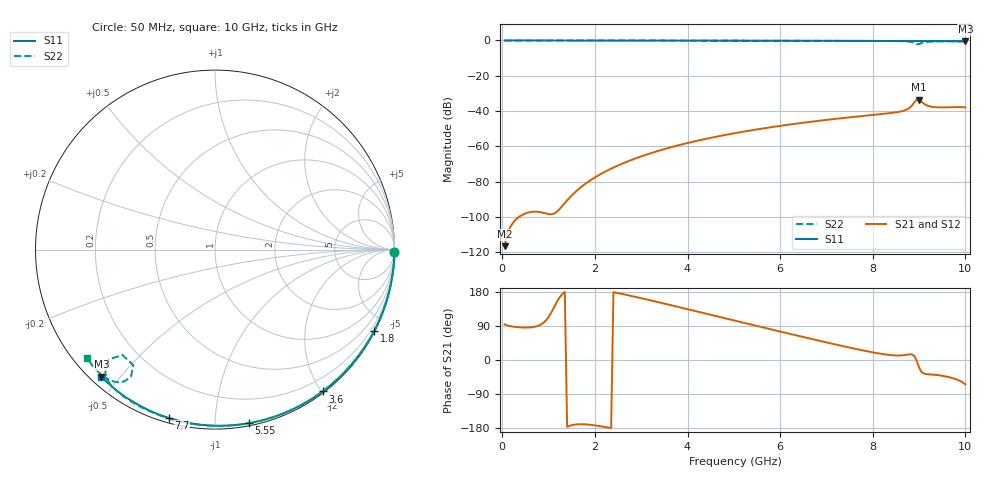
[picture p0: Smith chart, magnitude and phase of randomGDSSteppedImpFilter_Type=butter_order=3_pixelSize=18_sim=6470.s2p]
! freq	dB(S11)	phase(S11)	dB(S12)	phase(S12)
!  dB(S21)	phase(S21)	dB(S22)	phase(S22)
!S-par simulation data
#  GHz  S  DB  R 50
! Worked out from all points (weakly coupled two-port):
!   200 points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, 50 MHz to 10 GHz, reference 50 ohm
!   highest |S21| = -33.50 dB at 9 GHz (marker M1); lowest = -116.7 dB at 50 MHz (marker M2)
!   lowest |S11| = -0.5 dB at 10 GHz (marker M3), VSWR 38.31, Z = 1.57 - j22.3 ohm
!   |S11| at or under -10 dB: nowhere
!   |S22| runs from -2.1 to 0.0 dB; largest |S21 - S12| = 0
!   S11 on the Smith chart (normalised r, x): 50 MHz: open; 1.8 GHz: 0.04, -4.16; 3.6 GHz: 0.02, -2.01; 5.55 GHz: 0.02, -1.21; 7.7 GHz: 0.02, -0.76; 10 GHz: 0.03, -0.45
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0.05  -0.00 -0.8  -116.65 94.3  -116.65 94.3  -0.00 -0.8
0.9  -0.02 -13.6  -97.82 99.5  -97.82 99.5  -0.02 -14.6
1.75  -0.03 -26.3  -82.14 -169.6  -82.14 -169.6  -0.04 -28.1
1.8  -0.03 -27.0  -81.16 -169.9  -81.16 -169.9  -0.04 -28.9
1.85  -0.04 -27.8  -80.23 -170.4  -80.23 -170.4  -0.04 -29.7
2.25  -0.04 -33.6  -73.99 -177.5  -73.99 -177.5  -0.05 -36.0
2.55  -0.05 -38.0  -70.29 175.3  -70.29 175.3  -0.05 -40.6
3.4  -0.07 -50.1  -62.36 151.7  -62.36 151.7  -0.07 -53.5
3.6  -0.07 -52.9  -60.86 145.9  -60.86 145.9  -0.08 -56.5
5.05  -0.11 -72.4  -52.43 103.0  -52.43 103.0  -0.12 -77.4
5.55  -0.13 -78.9  -50.21 88.3  -50.21 88.3  -0.14 -84.3
6.7  -0.18 -93.4  -45.98 54.9  -45.98 54.9  -0.19 -99.7
7.7  -0.24 -105.4  -43.03 27.5  -43.03 27.5  -0.26 -112.9
8.35  -0.29 -113.0  -41.27 13.4  -41.27 13.4  -0.32 -121.9
8.7  -0.32 -117.1  -39.54 13.1  -39.54 13.1  -0.46 -128.3
8.85  -0.33 -118.8  -36.76 14.7  -36.76 14.7  -0.91 -132.8
8.9  -0.34 -119.3  -35.03 10.0  -35.03 10.0  -1.43 -133.9
8.95  -0.34 -119.9  -33.50 -2.9  -33.50 -2.9  -2.14 -131.3
9  -0.34 -120.5  -33.50 -19.9  -33.50 -19.9  -2.07 -125.3
9.1  -0.35 -121.7  -35.80 -35.5  -35.80 -35.5  -1.03 -124.4
9.25  -0.37 -123.4  -37.50 -38.2  -37.50 -38.2  -0.63 -128.1
10  -0.45 -131.8  -38.05 -64.7  -38.05 -64.7  -0.61 -139.7
